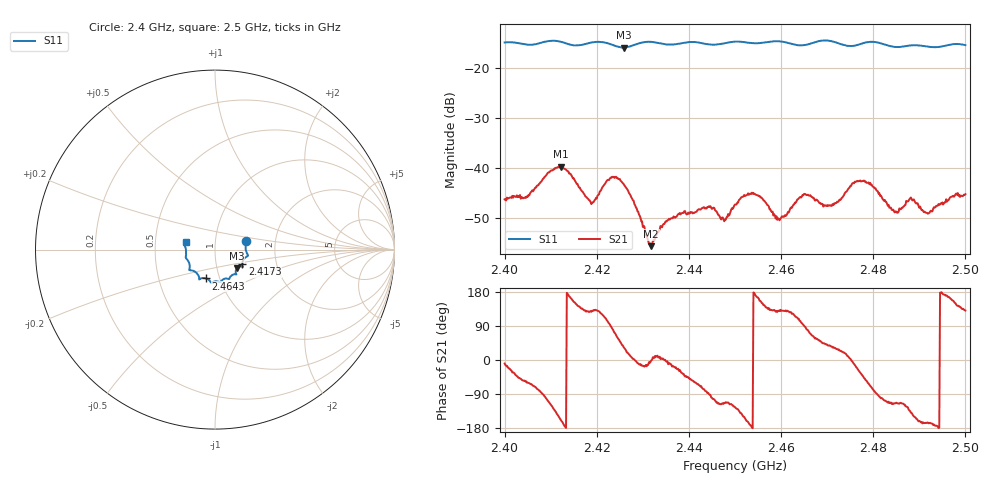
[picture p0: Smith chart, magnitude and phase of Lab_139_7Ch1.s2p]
# Hz S RI R 50
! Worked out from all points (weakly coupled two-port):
!   601 points, 2.4 GHz to 2.5 GHz, reference 50 ohm
!   highest |S21| = -39.77 dB at 2.4122 GHz (marker M1); lowest = -55.7 dB at 2.4318 GHz (marker M2)
!   lowest |S11| = -15.9 dB at 2.4258 GHz (marker M3), VSWR 1.38, Z = 62.3 - j13.2 ohm
!   |S11| at or under -10 dB: start of sweep to end of sweep
!   S12 and S22 are empty: the file has one direction only
!   S11 on the Smith chart (normalised r, x): 2.4 GHz: 1.41, +0.14; 2.4173 GHz: 1.34, -0.23; 2.4643 GHz: 0.86, -0.28; 2.5 GHz: 0.72, +0.06
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2.4e9  0.1729 0.0494  0.00478 -0.000771  0 0  0 0
2.404833e9  0.1705 0.0158  0.00262 -0.00448  0 0  0 0
2.412167e9  0.179 -0.0375  -0.0095 -0.00391  0 0  0 0
2.416667e9  0.1527 -0.0744  -0.00425 0.00415  0 0  0 0
2.417333e9  0.1521 -0.0817  -0.00354 0.00412  0 0  0 0
2.423333e9  0.1429 -0.0933  0.000984 0.00809  0 0  0 0
2.425833e9  0.1219 -0.1036  0.00571 0.00386  0 0  0 0
2.431833e9  0.1186 -0.1386  0.00164 -3.22e-05  0 0  0 0
2.433333e9  0.1129 -0.137  0.00225 0.000267  0 0  0 0
2.438667e9  0.0811 -0.158  0.00286 -0.00211  0 0  0 0
2.4475e9  0.038 -0.1717  -0.00133 -0.00275  0 0  0 0
2.45e9  0.0296 -0.1811  -0.00245 -0.00353  0 0  0 0
2.454167e9  0.00884 -0.1764  -0.00546 0.000274  0 0  0 0
2.459667e9  -0.0232 -0.1831  -0.00188 0.00232  0 0  0 0
2.464333e9  -0.0499 -0.1606  -0.000814 0.00497  0 0  0 0
2.466667e9  -0.0758 -0.1598  0.00216 0.00461  0 0  0 0
2.470833e9  -0.0873 -0.164  0.00337 0.00247  0 0  0 0
2.4775e9  -0.1313 -0.1158  0.00573 -0.00457  0 0  0 0
2.483333e9  -0.1407 -0.0898  -0.00147 -0.00401  0 0  0 0
2.488333e9  -0.161 -0.0491  -0.0037 -0.00315  0 0  0 0
2.491833e9  -0.1612 -0.0269  -0.00336 -0.000903  0 0  0 0
2.5e9  -0.1638 0.0421  -0.00355 0.00414  0 0  0 0
